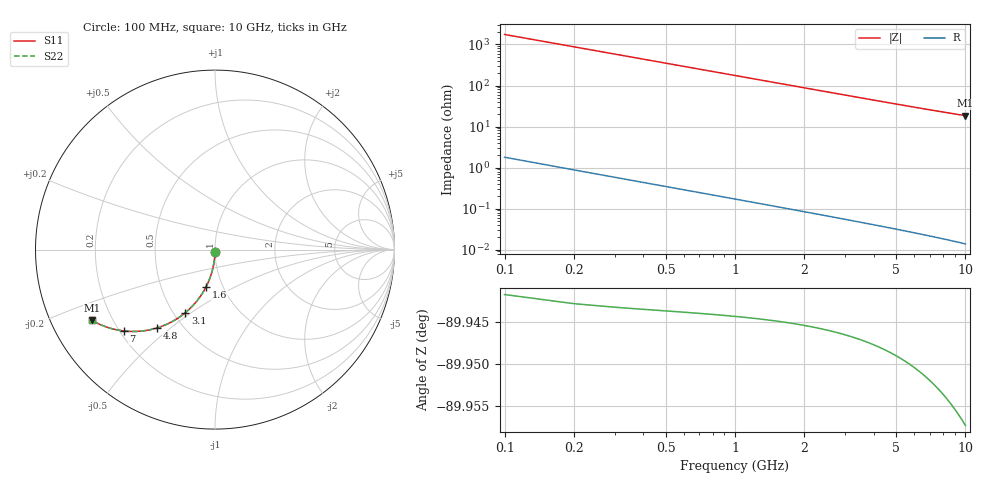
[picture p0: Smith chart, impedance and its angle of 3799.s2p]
# Hz S RI R 50.00
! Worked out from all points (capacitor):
!   100 points, 100 MHz to 10 GHz, reference 50 ohm
!   read as one part in shunt: C = 907 fF near 100 MHz
!   lowest |Z| = 18.4 ohm at 10 GHz (marker M1)
!   S11 on the Smith chart (normalised r, x): 100 MHz: 1.00, -0.03; 1.6 GHz: 0.83, -0.36; 3.1 GHz: 0.57, -0.47; 4.8 GHz: 0.36, -0.45; 7 GHz: 0.22, -0.36; 10 GHz: 0.13, -0.26
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1e8  -6.5e-05 -0.0136  0.9996 -0.0149  0.9996 -0.0149  -6.5e-05 -0.0136
2e8  -0.000685 -0.0272  0.999 -0.0298  0.999 -0.0298  -0.000685 -0.0272
3e8  -0.00171 -0.0407  0.998 -0.0446  0.998 -0.0446  -0.00171 -0.0407
4e8  -0.00313 -0.0542  0.9965 -0.0594  0.9965 -0.0594  -0.00313 -0.0542
5e8  -0.00496 -0.0677  0.9947 -0.0741  0.9947 -0.0741  -0.00496 -0.0677
6e8  -0.00717 -0.081  0.9925 -0.0887  0.9925 -0.0887  -0.00717 -0.081
7e8  -0.00978 -0.0943  0.9899 -0.1033  0.9899 -0.1033  -0.00978 -0.0943
9e8  -0.0161 -0.1204  0.9835 -0.132  0.9835 -0.132  -0.0161 -0.1204
1.2e9  -0.0284 -0.1586  0.9711 -0.174  0.9711 -0.174  -0.0284 -0.1586
1.6e9  -0.0495 -0.2068  0.9499 -0.2274  0.9499 -0.2274  -0.0495 -0.2068
1.8e9  -0.062 -0.2295  0.9375 -0.2527  0.9375 -0.2527  -0.062 -0.2295
2.4e9  -0.1054 -0.2916  0.8938 -0.3225  0.8938 -0.3225  -0.1054 -0.2916
3.1e9  -0.1648 -0.351  0.834 -0.3911  0.834 -0.3911  -0.1648 -0.351
3.4e9  -0.1922 -0.372  0.8065 -0.416  0.8065 -0.416  -0.1922 -0.372
4.1e9  -0.2579 -0.4108  0.7403 -0.4641  0.7403 -0.4641  -0.2579 -0.4108
4.8e9  -0.3239 -0.4366  0.6738 -0.4992  0.6738 -0.4992  -0.3239 -0.4366
5.1e9  -0.3515 -0.444  0.6459 -0.5106  0.6459 -0.5106  -0.3515 -0.444
5.9e9  -0.4221 -0.4549  0.5746 -0.5323  0.5746 -0.5323  -0.4221 -0.4549
6.7e9  -0.4868 -0.4552  0.5089 -0.5435  0.5089 -0.5435  -0.4868 -0.4552
7e9  -0.5094 -0.4531  0.486 -0.5456  0.486 -0.5456  -0.5094 -0.4531
8.4e9  -0.6024 -0.4321  0.3909 -0.5442  0.3909 -0.5442  -0.6024 -0.4321
1e10  -0.6855 -0.3941  0.3049 -0.5295  0.3049 -0.5295  -0.6855 -0.3941
